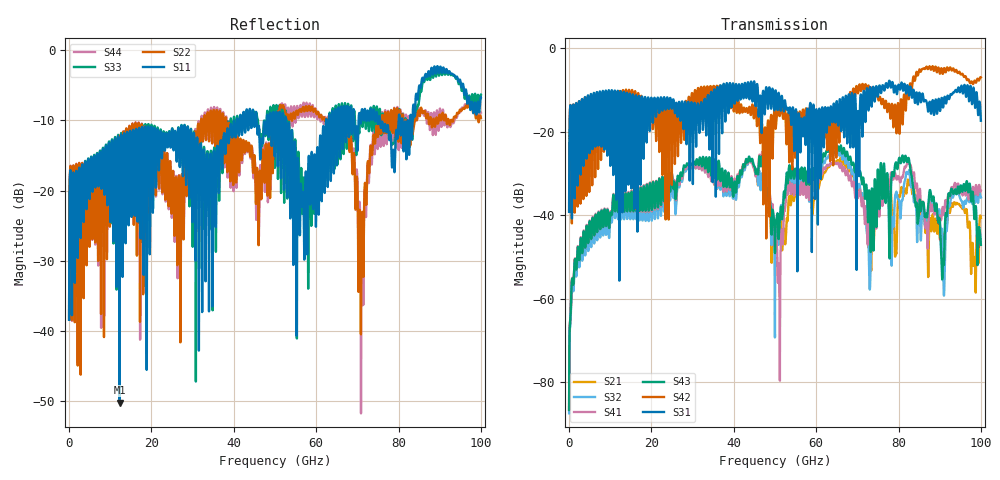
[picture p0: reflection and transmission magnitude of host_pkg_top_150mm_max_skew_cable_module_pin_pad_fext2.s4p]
# Hz S RI R 50
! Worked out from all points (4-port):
!   10000 points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, 10 MHz to 100 GHz, reference 50 ohm
!   strongest paths, dB at 10 MHz, 25.01 GHz, 50.01 GHz, 75.01 GHz, 100 GHz:
!     S31: -39.2, -14.1, -11.4, -11.5, -17.3
!     S42: -39.1, -23.6, -16.0, -11.7, -6.9
!     S43: -86.6, -30.5, -48.9, -29.2, -47.1
!     S41: -86.4, -30.3, -44.9, -32.8, -34.1
!     S32: -87.4, -31.9, -59.5, -33.1, -35.7
!     S21: -86.6, -30.6, -53.6, -35.4, -40.6
!   lowest |S11| = -50.2 dB at 12.25 GHz (marker M1), VSWR 1.01, Z = 50.1 + j0.306 ohm
!   |S11| at or under -10 dB: start of sweep to 40.74 GHz; 52.66 GHz to 62.41 GHz (9.754 GHz wide, 17 % of centre); 75.53 GHz to 79.99 GHz (4.463 GHz wide, 5.74 % of centre)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
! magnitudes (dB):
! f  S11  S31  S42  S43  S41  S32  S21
! 10 MHz  -38.4  -39.2  -39.1  -86.6  -86.4  -87.4  -86.6
! 12.25 GHz  -50.2  -24.0  -11.2  -35.1  -34.9  -36.2  -35.1
! 46.59 GHz  -13.5  -13.5  -20.3  -28.3  -27.2  -33.7  -33.3
! 50.9 GHz  -10.4  -10.7  -15.2  -45.3  -52.1  -46.3  -45.5
! 63.84 GHz  -9.1  -16.8  -16.7  -23.9  -27.6  -25.0  -27.7
! 72.89 GHz  -10.0  -11.3  -9.6  -34.1  -38.8  -54.1  -46.0
! 100 GHz  -6.7  -17.3  -6.9  -47.1  -34.1  -35.7  -40.6
